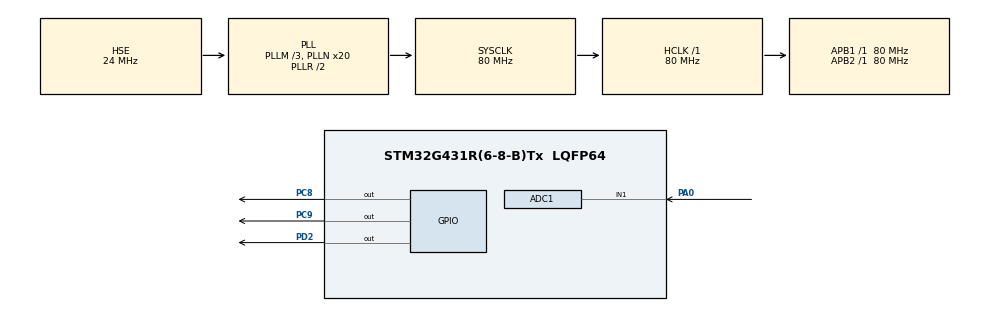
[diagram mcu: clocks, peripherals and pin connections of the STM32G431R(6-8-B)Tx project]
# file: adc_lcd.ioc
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ADC1.Channel-0\#ChannelRegularConversion=ADC_CHANNEL_1
ADC1.NbrOfConversionFlag=1
ADC1.OffsetNumber-0\#ChannelRegularConversion=ADC_OFFSET_NONE
ADC1.Rank-0\#ChannelRegularConversion=1
ADC1.SamplingTime-0\#ChannelRegularConversion=ADC_SAMPLETIME_2CYCLES_5
ADC1.master=1
Mcu.Family=STM32G4
Mcu.Name=STM32G431R(6-8-B)Tx
Mcu.Package=LQFP64
NVIC.PriorityGroup=NVIC_PRIORITYGROUP_4
PA0.Mode=IN1-Single-Ended
PA0.Signal=ADC1_IN1
PA13.Mode=Serial_Wire
PA13.Signal=SYS_JTMS-SWDIO
PA14.Mode=Serial_Wire
PA14.Signal=SYS_JTCK-SWCLK
PC8.PinState=GPIO_PIN_SET
PC8.Signal=GPIO_Output
PC9.PinState=GPIO_PIN_SET
PC9.Signal=GPIO_Output
PD2.Signal=GPIO_Output
PF0-OSC_IN.Mode=HSE-External-Oscillator
PF0-OSC_IN.Signal=RCC_OSC_IN
PF1-OSC_OUT.Mode=HSE-External-Oscillator
PF1-OSC_OUT.Signal=RCC_OSC_OUT
ProjectManager.HeapSize=0x200
ProjectManager.StackSize=0x400
ProjectManager.TargetToolchain=MDK-ARM V5
RCC.ADC12Freq_Value=80000000
RCC.AHBFreq_Value=80000000
RCC.APB1Freq_Value=80000000
RCC.APB1TimFreq_Value=80000000
RCC.APB2Freq_Value=80000000
RCC.APB2TimFreq_Value=80000000
RCC.CortexFreq_Value=80000000
RCC.EXTERNAL_CLOCK_VALUE=12288000
RCC.HCLKFreq_Value=80000000
RCC.HSE_VALUE=24000000
RCC.HSI48_VALUE=48000000
RCC.HSI_VALUE=16000000
RCC.LSE_VALUE=32768
RCC.PLLM=RCC_PLLM_DIV3
RCC.PLLN=20
RCC.PLLSourceVirtual=RCC_PLLSOURCE_HSE
RCC.SYSCLKFreq_VALUE=80000000
RCC.SYSCLKSource=RCC_SYSCLKSOURCE_PLLCLK
RCC.USBFreq_Value=80000000
RCC.VCOOutputFreq_Value=160000000
VP_SYS_VS_DBSignals.Mode=DisableDeadBatterySignals
board=custom

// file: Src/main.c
/* USER CODE BEGIN Header */
/**
  ******************************************************************************
  * @file           : main.c
  * @brief          : Main program body
  ******************************************************************************
  * @attention
  *
  * <h2><center>&copy; Copyright (c) 2024 STMicroelectronics.
  * All rights reserved.</center></h2>
  *
  * This software component is licensed by ST under BSD 3-Clause license,
  * the "License"; You may not use this file except in compliance with the
  * License. You may obtain a copy of the License at:
  *                        opensource.org/licenses/BSD-3-Clause
  *
  ******************************************************************************
  */
/* USER CODE END Header */

#include "main.h"
#include "adc.h"
#include "gpio.h"

/* USER CODE BEGIN Includes */
#include "lcd.h"
#include "stdio.h"
/* USER CODE END Includes */

/* USER CODE BEGIN PD */
#define LED1_ON HAL_GPIO_WritePin(GPIOC,GPIO_PIN_8,GPIO_PIN_RESET)
#define LED1_OFF HAL_GPIO_WritePin(GPIOC,GPIO_PIN_8,GPIO_PIN_SET)

#define LED2_ON HAL_GPIO_WritePin(GPIOC,GPIO_PIN_9,GPIO_PIN_RESET)
#define LED2_OFF HAL_GPIO_WritePin(GPIOC,GPIO_PIN_9,GPIO_PIN_SET)

#define GPIOD_PIN2_ON HAL_GPIO_WritePin(GPIOD,GPIO_PIN_2,GPIO_PIN_SET)
#define GPIOD_PIN2_OFF HAL_GPIO_WritePin(GPIOD,GPIO_PIN_2,GPIO_PIN_RESET)

uint8_t str[50];
uint8_t Value=0, Volt=0;
/* USER CODE END PD */

void SystemClock_Config(void);

/* USER CODE BEGIN 0 */
//灯光检测
void LED_Check()
{
		GPIOD_PIN2_ON;
		HAL_GPIO_WritePin(GPIOC,GPIO_PIN_All,GPIO_PIN_SET);
		LED1_ON;
		HAL_Delay(200);
		LED2_ON;
		HAL_Delay(200);
		LED1_OFF;
		HAL_Delay(200);
		LED2_OFF;
		HAL_Delay(200);
		GPIOD_PIN2_OFF;
}
//上电开机显示
void Begin_Display()
{

	LED_Check();
	sprintf(str,"www.xiqianyangyi.com   ");
	LCD_DisplayStringLine(Line0,str);
	sprintf(str,"Demo:  ");
	LCD_DisplayStringLine(Line1,str);
	sprintf(str,"Volt:  ");
	LCD_DisplayStringLine(Line2,str);
}

//ADC 查询 电压数据采集
void ADC_Get_Value()
{

		HAL_ADC_Start(&hadc1);
		GPIOD_PIN2_ON;
		HAL_GPIO_WritePin(GPIOC,GPIO_PIN_All,GPIO_PIN_SET);
		LED1_ON;
		if(HAL_OK==HAL_ADC_PollForConversion(&hadc1,10))
			{

				Value=HAL_ADC_GetValue(&hadc1);
				Volt=Value*3300/4096;
			}
		LED1_OFF;
		GPIOD_PIN2_OFF;
		HAL_ADC_Stop(&hadc1);
}
/* USER CODE END 0 */

int main(void)
{

  /* MCU Configuration--------------------------------------------------------*/

  /* Reset of all peripherals, Initializes the Flash interface and the Systick. */
  HAL_Init();

  /* Configure the system clock */
  SystemClock_Config();

  /* Initialize all configured peripherals */
  MX_GPIO_Init();
  MX_ADC1_Init();
  /* USER CODE BEGIN 2 */
	LCD_Init();
	LCD_SetTextColor(White);
	LCD_SetBackColor(Black);
	LCD_Clear(Black);
	Begin_Display();
  /* USER CODE END 2 */

  /* Infinite loop */
  while (1)
  {

    /* USER CODE BEGIN 3 */
		ADC_Get_Value();
		sprintf(str,"www.xiqianyangyi.com   ");
		LCD_DisplayStringLine(Line0,str);
		sprintf(str,"Demo:%d ",Value);
		LCD_DisplayStringLine(Line1,str);
		sprintf(str,"Volt:%d.%d%dV",Volt/1000,(Volt%1000)/100,(Volt%100)/10);
		LCD_DisplayStringLine(Line2,str);
		if(Volt<1300)
			{
				GPIOD_PIN2_ON;
				HAL_GPIO_WritePin(GPIOC,GPIO_PIN_All,GPIO_PIN_SET);
				LED2_ON;
				GPIOD_PIN2_OFF;
			}
		else
			{
				GPIOD_PIN2_ON;
				HAL_GPIO_WritePin(GPIOC,GPIO_PIN_All,GPIO_PIN_SET);
				LED2_OFF;
				GPIOD_PIN2_OFF;

			}
		HAL_Delay(300);
  }
  /* USER CODE END 3 */
}

void SystemClock_Config(void)
{
  RCC_OscInitTypeDef RCC_OscInitStruct = {0};
  RCC_ClkInitTypeDef RCC_ClkInitStruct = {0};
  RCC_PeriphCLKInitTypeDef PeriphClkInit = {0};

  /** Configure the main internal regulator output voltage
  */
  HAL_PWREx_ControlVoltageScaling(PWR_REGULATOR_VOLTAGE_SCALE1);
  /** Initializes the CPU, AHB and APB busses clocks
  */
  RCC_OscInitStruct.OscillatorType = RCC_OSCILLATORTYPE_HSE;
  RCC_OscInitStruct.HSEState = RCC_HSE_ON;
  RCC_OscInitStruct.PLL.PLLState = RCC_PLL_ON;
  RCC_OscInitStruct.PLL.PLLSource = RCC_PLLSOURCE_HSE;
  RCC_OscInitStruct.PLL.PLLM = RCC_PLLM_DIV3;
  RCC_OscInitStruct.PLL.PLLN = 20;
  RCC_OscInitStruct.PLL.PLLP = RCC_PLLP_DIV2;
  RCC_OscInitStruct.PLL.PLLQ = RCC_PLLQ_DIV2;
  RCC_OscInitStruct.PLL.PLLR = RCC_PLLR_DIV2;
  if (HAL_RCC_OscConfig(&RCC_OscInitStruct) != HAL_OK)
  {
    Error_Handler();
  }
  /** Initializes the CPU, AHB and APB busses clocks
  */
  RCC_ClkInitStruct.ClockType = RCC_CLOCKTYPE_HCLK|RCC_CLOCKTYPE_SYSCLK
                              |RCC_CLOCKTYPE_PCLK1|RCC_CLOCKTYPE_PCLK2;
  RCC_ClkInitStruct.SYSCLKSource = RCC_SYSCLKSOURCE_PLLCLK;
  RCC_ClkInitStruct.AHBCLKDivider = RCC_SYSCLK_DIV1;
  RCC_ClkInitStruct.APB1CLKDivider = RCC_HCLK_DIV1;
  RCC_ClkInitStruct.APB2CLKDivider = RCC_HCLK_DIV1;

  if (HAL_RCC_ClockConfig(&RCC_ClkInitStruct, FLASH_LATENCY_3) != HAL_OK)
  {
    Error_Handler();
  }
  /** Initializes the peripherals clocks
  */
  PeriphClkInit.PeriphClockSelection = RCC_PERIPHCLK_ADC12;
  PeriphClkInit.Adc12ClockSelection = RCC_ADC12CLKSOURCE_SYSCLK;
  if (HAL_RCCEx_PeriphCLKConfig(&PeriphClkInit) != HAL_OK)
  {
    Error_Handler();
  }
}

void Error_Handler(void)
{
}

/************************ (C) COPYRIGHT STMicroelectronics *****END OF FILE****/
